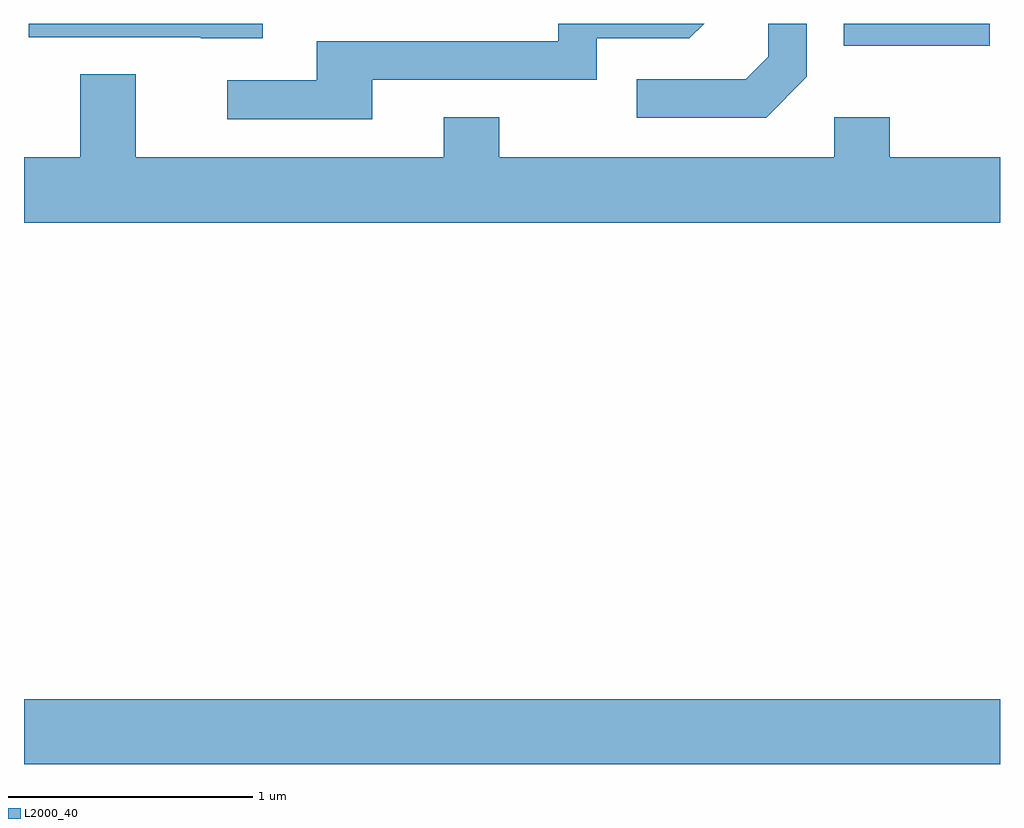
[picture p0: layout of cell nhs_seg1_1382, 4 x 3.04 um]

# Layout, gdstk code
import gdstk
lib = gdstk.Library(unit=1e-6, precision=1e-09)
def R(c, l, rs):  # rectangles x0, y0, x1, y1
    for r in rs: c.add(gdstk.rectangle(r[:2], r[2:], *l))
def P(c, l, *ps):  # polygons
    for p in ps: c.add(gdstk.Polygon(p, *l))
L2000_40 = (2000, 40)

nhs_seg1_1382 = lib.new_cell('nhs_seg1_1382')
R(nhs_seg1_1382, L2000_40, [(227.611,910.676,231.611,910.944), (230.971,913.621,231.569,913.712)])
P(nhs_seg1_1382, L2000_40, [(228.589,913.712),(227.631,913.712),(227.631,913.656),(228.335,913.656),(228.335,913.651),(228.589,913.651)],
  [(230.819,913.494),(230.819,913.712),(230.661,913.712),(230.661,913.577),(230.569,913.484),(230.123,913.484),(230.123,913.326),(230.652,913.326)],
  [(229.039,913.481),(229.959,913.481),(229.959,913.651),(230.337,913.651),(230.398,913.712),(229.801,913.712),(229.801,913.639),(228.811,913.639),(228.811,913.479),(228.443,913.479),(228.443,913.321),(229.039,913.321)],
  [(231.611,913.164),(231.159,913.164),(231.159,913.329),(230.931,913.329),(230.931,913.164),(229.559,913.164),(229.559,913.329),(229.331,913.329),(229.331,913.164),(228.069,913.164),(228.069,913.504),(227.841,913.504),(227.841,913.164),(227.611,913.164),(227.611,912.896),(231.611,912.896)])

lib.write_gds('nhs_seg1_1382.gds')
